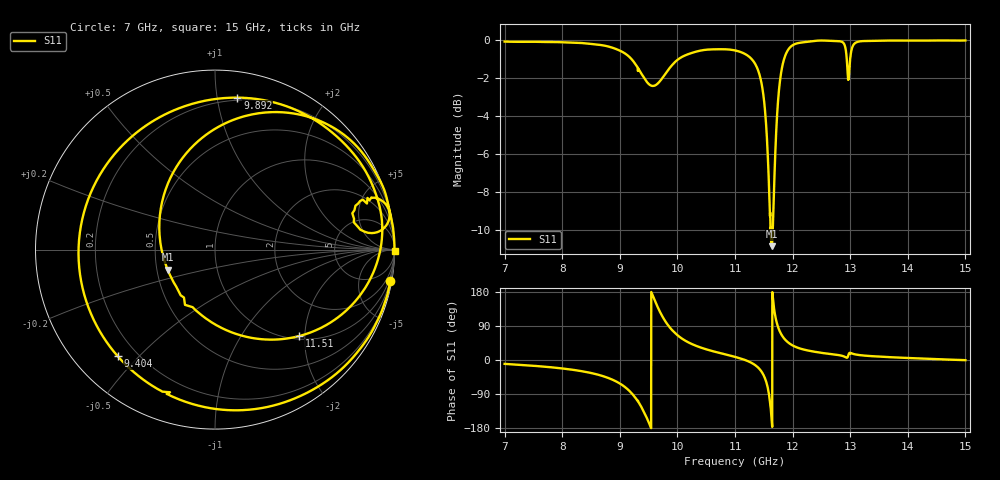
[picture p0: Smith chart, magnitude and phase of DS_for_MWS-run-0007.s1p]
! TOUCHSTONE file generated by CST DESIGN STUDIO
! Date and time: Mon Feb 10 16:54:06 2025
! Project name: C:\Work\MatlabApps\UnitCellType2OptimizationMatlab\CST\unitcell.cst
! Tree item: Tasks\Sweep1\SPara1\S-Parameters
! Header version: 2024
! Port assignment regex: !\s*Touchstone port\s*([0-9]+)\s*=\s*(CST MWS port|CST DES external port|CST DES block port)\s*(.+)\s* \(\"(.*)\"\)(\s*mode\s*([0-9]+))?.*
! Touchstone port assignment:
! Touchstone port 1 = CST DES external port 1 ("")
# GHz S MA R 50
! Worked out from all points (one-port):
!   4001 points, 7 GHz to 15 GHz, reference 50 ohm
!   lowest |S11| = -10.8 dB at 11.64 GHz (marker M1), VSWR 1.80, Z = 28.5 - j6.93 ohm
!   |S11| at or under -10 dB: 11.62058 GHz to 11.65513 GHz (34.55 MHz wide, 0.297 % of centre)
!   S11 on the Smith chart (normalised r, x): 7 GHz: 0, -11; 9.404 GHz: 0.13, -0.44; 9.892 GHz: 0.18, +1.14; 11.51 GHz: 1.06, -1.87; 15 GHz: open
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7  0.9934 -10.2
8  0.9891 -22.3
8.628  0.9747 -39.0
9  0.9404 -62.0
9.24  0.8794 -93.7
9.404  0.8041 -132.4
9.504  0.7674 -165.2
9.592  0.7592 162.6
9.732  0.7934 117.0
9.892  0.8558 81.6
10  0.8887 65.5
10.382  0.9392 34.1
11  0.9415 8.3
11.35  0.8674 -13.5
11.442  0.7946 -26.8
11.514  0.6717 -45.9
11.58  0.4536 -81.9
11.636  0.2868 -157.1
11.688  0.453 125.3
11.766  0.7467 79.6
11.87  0.9102 53.7
12  0.9716 38.5
12.432  0.999 20.5
12.922  0.947 7.2
13  0.897 18.7
13.156  0.994 13.1
14  0.9995 5.3
15  1 -0.4
